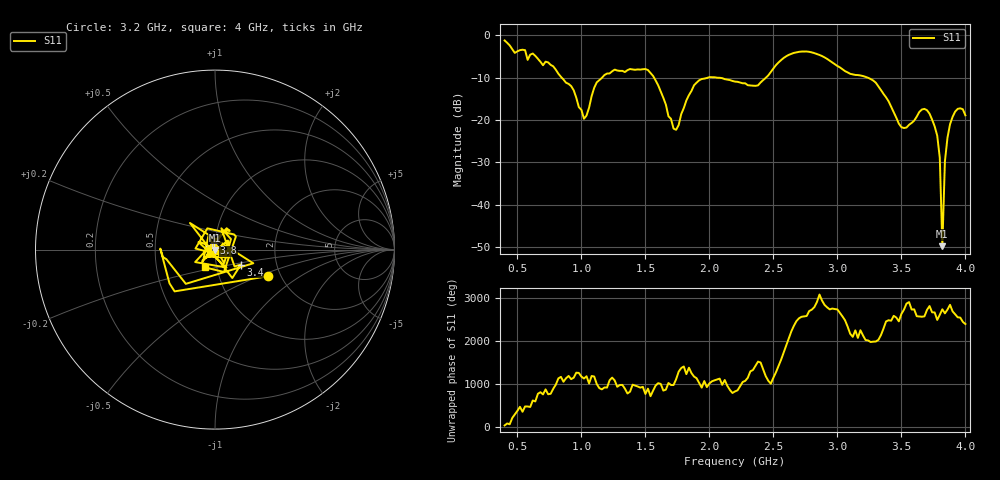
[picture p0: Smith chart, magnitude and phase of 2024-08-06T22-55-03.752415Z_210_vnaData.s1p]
!Created with skrf (http://scikit-rf.org).
# Hz S RI R 50.0
!freq ReS11 ImS11
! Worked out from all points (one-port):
!   181 points, 400 MHz to 4 GHz, reference 50 ohm
!   lowest |S11| = -49.8 dB at 3.82 GHz (marker M1), VSWR 1.01, Z = 49.8 - j0.233 ohm
!   |S11| at or under -10 dB: 1.568 GHz to 1.987 GHz (418.9 MHz wide, 23.6 % of centre); 2.061 GHz to 2.441 GHz (380.6 MHz wide, 16.9 % of centre); 3.239 GHz to end of sweep (the widest 3 of 4)
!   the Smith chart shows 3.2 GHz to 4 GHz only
!   S11 on the Smith chart (normalised r, x): 3.2 GHz: 1.72, -0.57; 3.4 GHz: 1.32, -0.23; 3.8 GHz: 0.99, +0.07; 4 GHz: 0.88, -0.18
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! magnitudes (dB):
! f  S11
! 400 MHz  -1.2
! 860 MHz  -10.4
! 940 MHz  -13.0
! 1.02 GHz  -19.7
! 1.12 GHz  -11.1
! 1.3 GHz  -8.4
! 1.52 GHz  -8.2
! 1.6 GHz  -11.8
! 1.72 GHz  -22.0
! 1.76 GHz  -21.2
! 1.82 GHz  -15.4
! 1.92 GHz  -10.6
! 2.2 GHz  -10.9
! 2.38 GHz  -11.8
! 2.66 GHz  -4.1
! 3.1 GHz  -9.1
! 3.2 GHz  -9.6
! 3.4 GHz  -15.6
! 3.5 GHz  -21.7
! 3.56 GHz  -21.1
! 3.7 GHz  -17.7
! 3.78 GHz  -23.7
! 3.8 GHz  -28.9
! 3.82 GHz  -49.8
! 3.84 GHz  -29.7
! 3.86 GHz  -24.2
! 3.92 GHz  -18.0
! 4 GHz  -18.9
